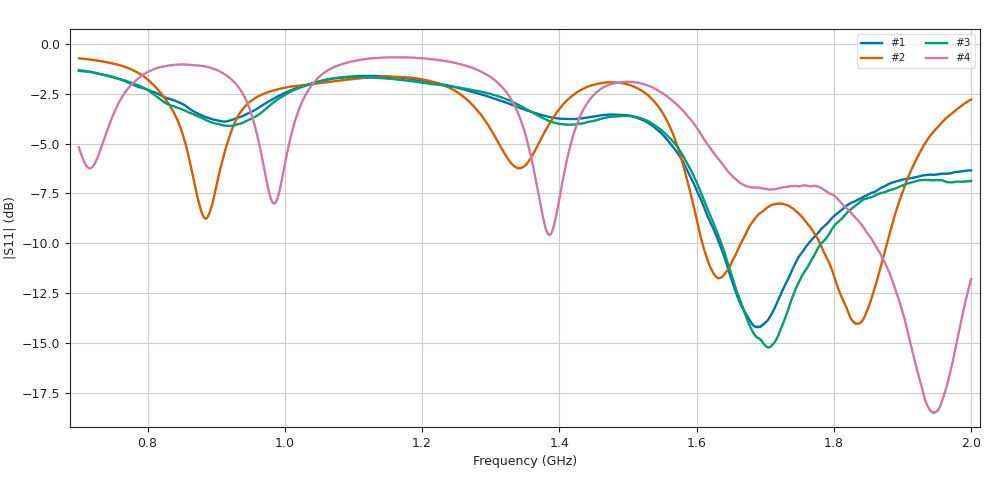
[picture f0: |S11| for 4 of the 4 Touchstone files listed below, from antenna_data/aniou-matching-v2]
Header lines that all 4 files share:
!Keysight Technologies,P9371A,MY57212015,A.15.65.19
!Correction: S11(C  1-Port  )
!S1P File: Measurement: S11:
# Hz S  dB  R 50
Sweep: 700 MHz to 2 GHz
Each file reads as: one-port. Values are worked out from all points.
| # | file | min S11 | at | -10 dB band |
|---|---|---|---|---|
| 1 | 20220630_yf000da-raw.s1p | -14.2 dB | 1.688 GHz | 130.1 MHz wide |
| 2 | 20220630_yf000da_4p7_1p8-1n3_4n7.s1p | -14.0 dB | 1.834 GHz | 97.75 MHz wide |
| 3 | 20220630_yf000da_ausgangsmessung.s1p | -15.2 dB | 1.706 GHz | 145.7 MHz wide |
| 4 | 20220630_yf000da_ausgangsmessung_9pf.s1p | -18.5 dB | 1.946 GHz | over 141.2 MHz wide |
